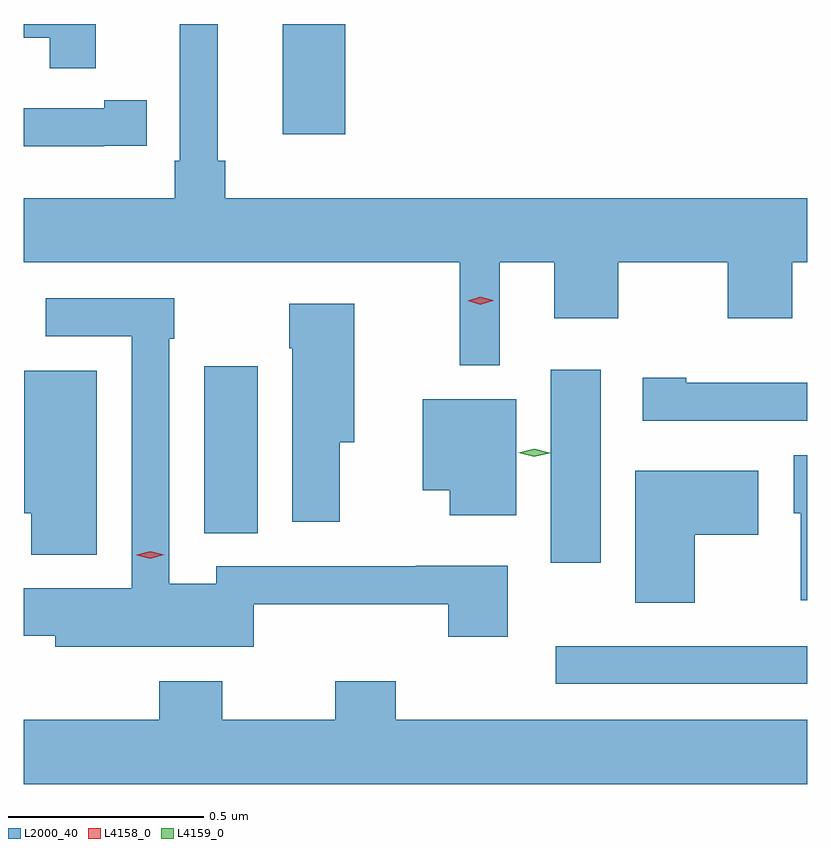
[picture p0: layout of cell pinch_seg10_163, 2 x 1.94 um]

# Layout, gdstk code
import gdstk
lib = gdstk.Library(unit=1e-6, precision=1e-09)
def R(c, l, rs):  # rectangles x0, y0, x1, y1
    for r in rs: c.add(gdstk.rectangle(r[:2], r[2:], *l))
def P(c, l, *ps):  # polygons
    for p in ps: c.add(gdstk.Polygon(p, *l))
L2000_40 = (2000, 40)
L4158_0 = (4158, 0)
L4159_0 = (4159, 0)

pinch_seg10_163 = lib.new_cell('pinch_seg10_163')
R(pinch_seg10_163, L2000_40, [(659.097,1283.256,659.739,1283.352), (659.084,1283.565,659.212,1284.058), (658.199,1283.641,658.336,1284.067), (658.4,1284.66,658.559,1284.941)])
P(pinch_seg10_163, L2000_40, [(658.954,1284.332),(659.093,1284.332),(659.093,1284.189),(659.257,1284.189),(659.257,1284.332),(659.537,1284.332),(659.537,1284.189),(659.701,1284.189),(659.701,1284.332),(659.739,1284.332),(659.739,1284.496),(658.253,1284.496),(658.253,1284.592),(658.234,1284.592),(658.234,1284.941),(658.137,1284.941),(658.137,1284.592),(658.124,1284.592),(658.124,1284.496),(657.739,1284.496),(657.739,1284.332),(658.852,1284.332),(658.852,1284.069),(658.954,1284.069)],
  [(657.923,1284.941),(657.739,1284.941),(657.739,1284.906),(657.805,1284.906),(657.805,1284.828),(657.923,1284.828)],
  [(657.944,1284.63),(658.052,1284.63),(658.052,1284.746),(657.944,1284.746),(657.944,1284.726),(657.739,1284.726),(657.739,1284.629),(657.944,1284.629)],
  [(658.326,1283.459),(658.823,1283.459),(658.823,1283.376),(658.975,1283.376),(658.975,1283.557),(658.739,1283.557),(658.739,1283.556),(658.23,1283.556),(658.23,1283.512),(658.11,1283.512),(658.11,1284.137),(658.123,1284.137),(658.123,1284.24),(657.795,1284.24),(657.795,1284.144),(658.014,1284.144),(658.014,1283.5),(657.739,1283.5),(657.739,1283.378),(657.819,1283.378),(657.819,1283.351),(658.326,1283.351)],
  [(658.546,1283.873),(658.582,1283.873),(658.582,1284.226),(658.417,1284.226),(658.417,1284.113),(658.424,1284.113),(658.424,1283.67),(658.546,1283.67)],
  [(657.925,1284.055),(657.74,1284.055),(657.74,1283.691),(657.758,1283.691),(657.758,1283.585),(657.925,1283.585)],
  [(659.739,1284.025),(659.431,1284.025),(659.431,1284.037),(659.319,1284.037),(659.319,1283.928),(659.739,1283.928)],
  [(658.996,1283.983),(658.757,1283.983),(658.757,1283.75),(658.826,1283.75),(658.826,1283.687),(658.996,1283.687)],
  [(659.739,1283.839),(659.705,1283.839),(659.705,1283.691),(659.723,1283.691),(659.723,1283.469),(659.739,1283.469)],
  [(659.452,1283.636),(659.614,1283.636),(659.614,1283.8),(659.3,1283.8),(659.3,1283.463),(659.452,1283.463)],
  [(659.739,1283.164),(658.689,1283.164),(658.689,1283.263),(658.534,1283.263),(658.534,1283.164),(658.245,1283.164),(658.245,1283.263),(658.085,1283.263),(658.085,1283.164),(657.739,1283.164),(657.739,1283),(659.739,1283)])
P(pinch_seg10_163, L4158_0, [(658.904,1284.224),(658.872,1284.234),(658.871,1284.234),(658.872,1284.234),(658.904,1284.244),(658.937,1284.235),(658.937,1284.234),(658.937,1284.234)],
  [(658.062,1283.575),(658.027,1283.584),(658.027,1283.584),(658.027,1283.585),(658.062,1283.595),(658.097,1283.586),(658.097,1283.586),(658.097,1283.586)])
P(pinch_seg10_163, L4159_0, [(659.042,1283.836),(659.001,1283.846),(659.001,1283.846),(659.001,1283.846),(659.042,1283.856),(659.082,1283.846),(659.083,1283.846),(659.082,1283.845)])

lib.write_gds('pinch_seg10_163.gds')
